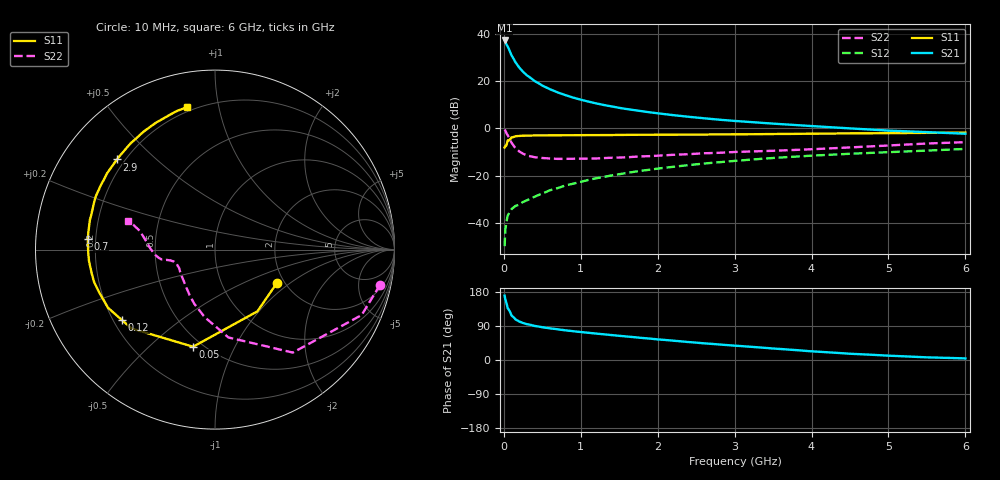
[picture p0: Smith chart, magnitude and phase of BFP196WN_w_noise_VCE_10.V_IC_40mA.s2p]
! (c) 2017  Infineon Technologies AG, Munich
! Infineon Technologies  Discrete & RF Semiconductors
! BFP196WN
! VCE =  10. V,  IC =  40 mA
! Common Emitter S-Parameters:  Jan 2017
# GHz  S  MA  R  50
!  f  S11  S21  S12  S22
! GHz  MAG  ANG  MAG  ANG  MAG  ANG  MAG  ANG
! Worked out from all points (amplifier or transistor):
!   77 points, 10 MHz to 6 GHz, reference 50 ohm
!   highest |S21| = 37.2 dB at 10 MHz (marker M1)
!   |S21| within 3 dB of that: start of sweep to 56.61 MHz
!   unconditionally stable (mu >= 1): 765.7 MHz to 2.729 GHz
!   at 130 MHz: K = 0.46, MSG = 31.3 dB, |S12| = -33.4 dB
!   at 2.2 GHz: K = 1.02, MAG = 10.0 dB, |S12| = -16.3 dB
!   at 6 GHz: K = 0.89, MSG = 3.2 dB, |S12| = -8.7 dB
!   lowest NFmin = 1.16 dB at 450 MHz
!   S11 on the Smith chart (normalised r, x): 10 MHz: 1.83, -0.80; 50 MHz: 0.45, -0.70; 120 MHz: 0.24, -0.32; 700 MHz: 0.17, +0.04; 2.9 GHz: 0.17, +0.38; 6 GHz: 0.18, +0.81
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0.01  0.3918 -28.3  72.12 169.9  0.0032 80.0  0.9404 -12.0
0.02  0.4173 -55.5  67.12 159.5  0.0073 77.6  0.895 -24.0
0.05  0.5547 -102.7  53.83 136.8  0.0141 56.3  0.7194 -52.9
0.1  0.6397 -136.6  34.88 117.1  0.0194 47.8  0.4954 -81.3
0.12  0.6499 -142.7  30.87 114.0  0.0207 46.9  0.445 -87.1
0.15  0.6784 -151.4  25.11 107.4  0.0227 45.8  0.3809 -98.6
0.2  0.6877 -159.6  19.31 101.6  0.0243 47.4  0.3237 -110.8
0.25  0.6974 -165.0  15.66 97.6  0.0276 49.7  0.2898 -119.3
0.3  0.6997 -169.0  13.15 94.6  0.0299 52.3  0.2661 -126.6
0.4  0.7049 -174.8  9.983 89.9  0.0356 56.6  0.2444 -136.3
0.5  0.7065 -178.7  8.01 86.5  0.0416 59.7  0.2349 -143.4
0.6  0.7082 178.0  6.693 83.5  0.0488 62.1  0.2293 -148.6
0.7  0.7104 175.3  5.735 81.0  0.0542 63.6  0.225 -151.9
0.9  0.7126 170.4  4.461 76.0  0.0671 65.4  0.2266 -156.6
1.1  0.7165 166.5  3.661 71.8  0.0807 66.1  0.2278 -160.2
1.5  0.7222 159.4  2.705 63.8  0.1066 65.7  0.2402 -164.3
2.1  0.7306 149.5  1.984 52.8  0.1464 63.1  0.2685 -167.4
2.9  0.7418 137.4  1.474 39.4  0.1975 57.8  0.3087 -170.5
3.1  0.7454 134.3  1.393 36.5  0.21 56.2  0.3186 -172.1
4.1  0.7698 119.9  1.089 21.7  0.2681 48.3  0.366 177.6
5.1  0.7906 109.0  0.879 10.6  0.3168 40.9  0.4405 165.4
6  0.8093 101.1  0.765 4.2  0.3657 35.0  0.508 162.0
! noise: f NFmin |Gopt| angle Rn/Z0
0.45  1.16  0.5  -179  0.04
0.9  1.29  0.54  -173  0.05
1.9  2.21  0.68  -148  0.13
2.4  2.95  0.69  -141  0.26
